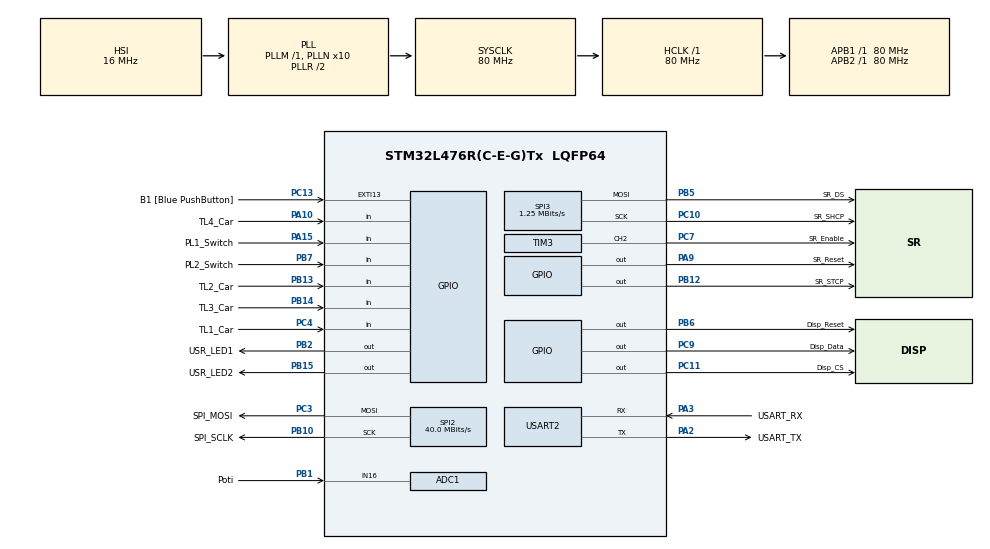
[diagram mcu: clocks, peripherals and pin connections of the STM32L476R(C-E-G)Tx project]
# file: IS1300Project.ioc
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ADC1.Channel-1\#ChannelRegularConversion=ADC_CHANNEL_16
ADC1.NbrOfConversionFlag=1
ADC1.OffsetNumber-1\#ChannelRegularConversion=ADC_OFFSET_NONE
ADC1.Rank-1\#ChannelRegularConversion=1
ADC1.SamplingTime-1\#ChannelRegularConversion=ADC_SAMPLETIME_2CYCLES_5
ADC1.master=1
FREERTOS.Tasks01=defaultTask,24,128,StartDefaultTask,Default,NULL,Dynamic,NULL,NULL;TLHandlerTask,24,128,TLHandler,Default,NULL,Dynamic,NULL,NULL;PLHandlerTask,24,128,PLHandler,Default,NULL,Dynamic,NULL,NULL;InHandlerTask,40,128,InHandler,Default,NULL,Dynamic,NULL,NULL;blinkTaskHandle,24,128,blinkTask,Default,NULL,Dynamic,NULL,NULL;OLHandlerTask,40,512,OLHandler,Default,NULL,Dynamic,NULL,NULL
FREERTOS.configTOTAL_HEAP_SIZE=6000
FREERTOS.configUSE_NEWLIB_REENTRANT=1
Mcu.Family=STM32L4
Mcu.Name=STM32L476R(C-E-G)Tx
Mcu.Package=LQFP64
NVIC.PriorityGroup=NVIC_PRIORITYGROUP_4
NVIC.TIM1_UP_TIM16_IRQn=true\:15\:0\:false\:false\:true\:false\:false\:true\:true
NVIC.TimeBase=TIM1_UP_TIM16_IRQn
NVIC.TimeBaseIP=TIM1
PA10.GPIO_Label=TL4_Car
PA10.GPIO_PuPd=GPIO_PULLUP
PA10.Signal=GPIO_Input
PA13\ (JTMS-SWDIO).GPIO_Label=TMS
PA13\ (JTMS-SWDIO).Mode=Serial_Wire
PA13\ (JTMS-SWDIO).Signal=SYS_JTMS-SWDIO
PA14\ (JTCK-SWCLK).GPIO_Label=TCK
PA14\ (JTCK-SWCLK).Mode=Serial_Wire
PA14\ (JTCK-SWCLK).Signal=SYS_JTCK-SWCLK
PA15\ (JTDI).GPIO_Label=PL1_Switch
PA15\ (JTDI).GPIO_PuPd=GPIO_PULLUP
PA15\ (JTDI).Signal=GPIO_Input
PA2.GPIO_Label=USART_TX
PA2.GPIO_Mode=GPIO_MODE_AF_PP
PA2.GPIO_PuPd=GPIO_NOPULL
PA2.GPIO_Speed=GPIO_SPEED_FREQ_VERY_HIGH
PA2.Mode=Asynchronous
PA2.Signal=USART2_TX
PA3.GPIO_Label=USART_RX
PA3.GPIO_Mode=GPIO_MODE_AF_PP
PA3.GPIO_PuPd=GPIO_NOPULL
PA3.GPIO_Speed=GPIO_SPEED_FREQ_VERY_HIGH
PA3.Mode=Asynchronous
PA3.Signal=USART2_RX
PA9.GPIO_Label=SR_Reset
PA9.Signal=GPIO_Output
PB1.GPIO_Label=Poti
PB1.Signal=ADCx_IN16
PB10.GPIO_Label=SPI_SCLK
PB10.Mode=TX_Only_Simplex_Unidirect_Master
PB10.Signal=SPI2_SCK
PB12.GPIO_Label=SR_STCP
PB12.Signal=GPIO_Output
PB13.GPIO_Label=TL2_Car
PB13.GPIO_PuPd=GPIO_PULLUP
PB13.Signal=GPIO_Input
PB14.GPIO_Label=TL3_Car
PB14.GPIO_PuPd=GPIO_PULLUP
PB14.Signal=GPIO_Input
PB15.GPIO_Label=USR_LED2
PB15.Signal=GPIO_Output
PB2.GPIO_Label=USR_LED1
PB2.Signal=GPIO_Output
PB5.GPIO_Label=SR_DS
PB5.Mode=TX_Only_Simplex_Unidirect_Master
PB5.Signal=SPI3_MOSI
PB6.GPIO_Label=Disp_Reset
PB6.Signal=GPIO_Output
PB7.GPIO_Label=PL2_Switch
PB7.GPIO_PuPd=GPIO_PULLUP
PB7.Signal=GPIO_Input
PC10.GPIO_Label=SR_SHCP
PC10.Mode=TX_Only_Simplex_Unidirect_Master
PC10.Signal=SPI3_SCK
PC11.GPIO_Label=Disp_CS
PC11.Signal=GPIO_Output
PC13.GPIO_Label=B1 [Blue PushButton]
PC13.GPIO_ModeDefaultEXTI=GPIO_MODE_IT_FALLING
PC13.GPIO_PuPd=GPIO_NOPULL
PC13.Signal=GPXTI13
PC14-OSC32_IN\ (PC14).Mode=LSE-External-Oscillator
PC14-OSC32_IN\ (PC14).Signal=RCC_OSC32_IN
PC15-OSC32_OUT\ (PC15).Mode=LSE-External-Oscillator
PC15-OSC32_OUT\ (PC15).Signal=RCC_OSC32_OUT
PC3.GPIO_Label=SPI_MOSI
PC3.Mode=TX_Only_Simplex_Unidirect_Master
PC3.Signal=SPI2_MOSI
PC4.GPIO_Label=TL1_Car
PC4.GPIO_PuPd=GPIO_PULLUP
PC4.Signal=GPIO_Input
PC7.GPIO_Label=SR_Enable
PC7.Signal=S_TIM3_CH2
PC9.GPIO_Label=Disp_Data
PC9.Signal=GPIO_Output
PH0-OSC_IN\ (PH0).Signal=RCC_OSC_IN
PH1-OSC_OUT\ (PH1).Signal=RCC_OSC_OUT
ProjectManager.HeapSize=0x200
ProjectManager.StackSize=0x400
ProjectManager.TargetToolchain=STM32CubeIDE
RCC.ADCFreq_Value=64000000
RCC.AHBFreq_Value=80000000
RCC.APB1Freq_Value=80000000
RCC.APB1TimFreq_Value=80000000
RCC.APB2Freq_Value=80000000
RCC.APB2TimFreq_Value=80000000
RCC.CortexFreq_Value=80000000
RCC.HCLKFreq_Value=80000000
RCC.HSE_VALUE=8000000
RCC.HSI_VALUE=16000000
RCC.MSI_VALUE=4000000
RCC.PLLN=10
RCC.PLLSourceVirtual=RCC_PLLSOURCE_HSI
RCC.PREFETCH_ENABLE=1
RCC.SYSCLKFreq_VALUE=80000000
RCC.SYSCLKSource=RCC_SYSCLKSOURCE_PLLCLK
RCC.USBFreq_Value=64000000
RCC.VCOOutputFreq_Value=160000000
SH.ADCx_IN16.0=ADC1_IN16,IN16-Single-Ended
SH.S_TIM3_CH2.0=TIM3_CH2,PWM Generation2 CH2
SPI2.CalculateBaudRate=40.0 MBits/s
SPI2.DataSize=SPI_DATASIZE_8BIT
SPI2.Direction=SPI_DIRECTION_2LINES
SPI2.Mode=SPI_MODE_MASTER
SPI2.VirtualType=VM_MASTER
SPI3.BaudRatePrescaler=SPI_BAUDRATEPRESCALER_64
SPI3.CalculateBaudRate=1.25 MBits/s
SPI3.DataSize=SPI_DATASIZE_8BIT
SPI3.Direction=SPI_DIRECTION_2LINES
SPI3.FirstBit=SPI_FIRSTBIT_LSB
SPI3.Mode=SPI_MODE_MASTER
SPI3.VirtualType=VM_MASTER
TIM3.Channel-PWM\ Generation2\ CH2=TIM_CHANNEL_2
TIM3.Period=4095
TIM3.Prescaler=0
TIM3.Pulse-PWM\ Generation2\ CH2=100
USART2.VirtualMode-Asynchronous=VM_ASYNC
VP_FREERTOS_VS_CMSIS_V2.Mode=CMSIS_V2
VP_SYS_VS_tim1.Mode=TIM1
VP_TIM2_VS_ClockSourceINT.Mode=Internal
VP_TIM3_VS_ClockSourceINT.Mode=Internal
board=NUCLEO-L476RG

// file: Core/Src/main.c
/* USER CODE BEGIN Header */
/**
  ******************************************************************************
  * @file           : main.c
  * @brief          : Main program body
  ******************************************************************************
  * @attention
  *
  * Copyright (c) 2025 STMicroelectronics.
  * All rights reserved.
  *
  * This software is licensed under terms that can be found in the LICENSE file
  * in the root directory of this software component.
  * If no LICENSE file comes with this software, it is provided AS-IS.
  *
  ******************************************************************************
  */
/* USER CODE END Header */
#include "main.h"
#include "cmsis_os.h"
#include "adc.h"
#include "spi.h"
#include "tim.h"
#include "usart.h"
#include "gpio.h"

/* USER CODE BEGIN Includes */
#include "ssd1306.h"
/* USER CODE END Includes */

/* USER CODE BEGIN PD */
#define RUN_TEST_PROGRAM
#undef RUN_TEST_PROGRAM
/* USER CODE END PD */

void SystemClock_Config(void);
void MX_FREERTOS_Init(void);

/* USER CODE BEGIN 0 */
#ifdef RUN_TEST_PROGRAM
extern void initialise_monitor_handles(void);
#endif

/* USER CODE END 0 */

int main(void)
{

  /* MCU Configuration--------------------------------------------------------*/

  /* Reset of all peripherals, Initializes the Flash interface and the Systick. */
  HAL_Init();

  /* Configure the system clock */
  SystemClock_Config();

  /* Initialize all configured peripherals */
  MX_GPIO_Init();
  MX_USART2_UART_Init();
  MX_SPI2_Init();
  MX_SPI3_Init();
  MX_ADC1_Init();
  MX_TIM2_Init();
  MX_TIM3_Init();
  /* USER CODE BEGIN 2 */

  //Init screen and start PWM for potentiometer control
  ssd1306_Init();
  HAL_TIM_PWM_Start(&htim3, TIM_CHANNEL_2);

#ifdef RUN_TEST_PROGRAM
  Test_program();
#else
  //Traffic();
#endif

  /* USER CODE END 2 */

  /* Init scheduler */
  osKernelInitialize();  /* Call init function for freertos objects (in cmsis_os2.c) */
  MX_FREERTOS_Init();

  /* Start scheduler */
  osKernelStart();

  /* We should never get here as control is now taken by the scheduler */

  /* Infinite loop */
  while (1)
  {

  }
}

void SystemClock_Config(void)
{
  RCC_OscInitTypeDef RCC_OscInitStruct = {0};
  RCC_ClkInitTypeDef RCC_ClkInitStruct = {0};

  /** Configure the main internal regulator output voltage
  */
  if (HAL_PWREx_ControlVoltageScaling(PWR_REGULATOR_VOLTAGE_SCALE1) != HAL_OK)
  {
    Error_Handler();
  }

  /** Initializes the RCC Oscillators according to the specified parameters
  * in the RCC_OscInitTypeDef structure.
  */
  RCC_OscInitStruct.OscillatorType = RCC_OSCILLATORTYPE_HSI;
  RCC_OscInitStruct.HSIState = RCC_HSI_ON;
  RCC_OscInitStruct.HSICalibrationValue = RCC_HSICALIBRATION_DEFAULT;
  RCC_OscInitStruct.PLL.PLLState = RCC_PLL_ON;
  RCC_OscInitStruct.PLL.PLLSource = RCC_PLLSOURCE_HSI;
  RCC_OscInitStruct.PLL.PLLM = 1;
  RCC_OscInitStruct.PLL.PLLN = 10;
  RCC_OscInitStruct.PLL.PLLP = RCC_PLLP_DIV7;
  RCC_OscInitStruct.PLL.PLLQ = RCC_PLLQ_DIV2;
  RCC_OscInitStruct.PLL.PLLR = RCC_PLLR_DIV2;
  if (HAL_RCC_OscConfig(&RCC_OscInitStruct) != HAL_OK)
  {
    Error_Handler();
  }

  /** Initializes the CPU, AHB and APB buses clocks
  */
  RCC_ClkInitStruct.ClockType = RCC_CLOCKTYPE_HCLK|RCC_CLOCKTYPE_SYSCLK
                              |RCC_CLOCKTYPE_PCLK1|RCC_CLOCKTYPE_PCLK2;
  RCC_ClkInitStruct.SYSCLKSource = RCC_SYSCLKSOURCE_PLLCLK;
  RCC_ClkInitStruct.AHBCLKDivider = RCC_SYSCLK_DIV1;
  RCC_ClkInitStruct.APB1CLKDivider = RCC_HCLK_DIV1;
  RCC_ClkInitStruct.APB2CLKDivider = RCC_HCLK_DIV1;

  if (HAL_RCC_ClockConfig(&RCC_ClkInitStruct, FLASH_LATENCY_4) != HAL_OK)
  {
    Error_Handler();
  }
}

void HAL_TIM_PeriodElapsedCallback(TIM_HandleTypeDef *htim)
{
  if (htim->Instance == TIM1)
  {
    HAL_IncTick();
  }
}

void Error_Handler(void)
{
  __disable_irq();
  while (1)
  {
  }
}

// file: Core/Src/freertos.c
/* USER CODE BEGIN Header */
/**
  ******************************************************************************
  * File Name          : freertos.c
  * Description        : Code for freertos applications
  ******************************************************************************
  * @attention
  *
  * Copyright (c) 2025 STMicroelectronics.
  * All rights reserved.
  *
  * This software is licensed under terms that can be found in the LICENSE file
  * in the root directory of this software component.
  * If no LICENSE file comes with this software, it is provided AS-IS.
  *
  ******************************************************************************
  */
/* USER CODE END Header */

#include "FreeRTOS.h"
#include "task.h"
#include "main.h"
#include "cmsis_os.h"

/* USER CODE BEGIN Includes */
#include "Traffic.h"
#include "event_groups.h"
#include "Test.h"
#include "traffic_functions.h"
#include "semphr.h"
#include "oled_functions.h"
#include "adc.h"
#include "tim.h"

/* USER CODE END Includes */

/* USER CODE BEGIN Variables */

EventGroupHandle_t eventGroup;
EventGroupHandle_t oledEventGroup;
uint32_t current_instruction;
bool doBlink1, doBlink2;
bool blinkState;
SemaphoreHandle_t lightMutex;
SemaphoreHandle_t oledMutex;
oledBarStruct oledBars[NUM_BARS];
uint16_t poti_value;

/* USER CODE END Variables */
/* Definitions for defaultTask */
osThreadId_t defaultTaskHandle;
const osThreadAttr_t defaultTask_attributes = {
  .name = "defaultTask",
  .stack_size = 128 * 4,
  .priority = (osPriority_t) osPriorityNormal,
};
/* Definitions for TLHandlerTask */
osThreadId_t TLHandlerTaskHandle;
const osThreadAttr_t TLHandlerTask_attributes = {
  .name = "TLHandlerTask",
  .stack_size = 128 * 4,
  .priority = (osPriority_t) osPriorityNormal,
};
/* Definitions for PLHandlerTask */
osThreadId_t PLHandlerTaskHandle;
const osThreadAttr_t PLHandlerTask_attributes = {
  .name = "PLHandlerTask",
  .stack_size = 128 * 4,
  .priority = (osPriority_t) osPriorityNormal,
};
/* Definitions for InHandlerTask */
osThreadId_t InHandlerTaskHandle;
const osThreadAttr_t InHandlerTask_attributes = {
  .name = "InHandlerTask",
  .stack_size = 128 * 4,
  .priority = (osPriority_t) osPriorityHigh,
};
/* Definitions for blinkTaskHandle */
osThreadId_t blinkTaskHandleHandle;
const osThreadAttr_t blinkTaskHandle_attributes = {
  .name = "blinkTaskHandle",
  .stack_size = 128 * 4,
  .priority = (osPriority_t) osPriorityNormal,
};
/* Definitions for OLHandlerTask */
osThreadId_t OLHandlerTaskHandle;
const osThreadAttr_t OLHandlerTask_attributes = {
  .name = "OLHandlerTask",
  .stack_size = 512 * 4,
  .priority = (osPriority_t) osPriorityHigh,
};

void StartDefaultTask(void *argument);
void TLHandler(void *argument);
void PLHandler(void *argument);
void InHandler(void *argument);
void blinkTask(void *argument);
void OLHandler(void *argument);

void MX_FREERTOS_Init(void); /* (MISRA C 2004 rule 8.1) */

void MX_FREERTOS_Init(void) {
  /* USER CODE BEGIN Init */
  eventGroup = xEventGroupCreate();
  oledEventGroup = xEventGroupCreate();
  doBlink1 = false;
  doBlink2 = false;
  blinkState = false;

  HAL_GPIO_WritePin(SR_Reset_GPIO_Port, SR_Reset_Pin, GPIO_PIN_SET);

  //init bars
  for(int i = 0; i < NUM_BARS; i++) {
      oledBars[i].startTick = 0;
      oledBars[i].durationTick = 0;
      oledBars[i].active = 0;
  }
  /* USER CODE END Init */

  /* USER CODE BEGIN RTOS_MUTEX */
  /* add mutexes, ... */

  lightMutex = xSemaphoreCreateMutex();
  oledMutex = xSemaphoreCreateMutex();

  /* USER CODE END RTOS_MUTEX */

  /* Create the thread(s) */
  /* creation of defaultTask */
  defaultTaskHandle = osThreadNew(StartDefaultTask, NULL, &defaultTask_attributes);

  /* creation of TLHandlerTask */
  TLHandlerTaskHandle = osThreadNew(TLHandler, NULL, &TLHandlerTask_attributes);

  /* creation of PLHandlerTask */
  PLHandlerTaskHandle = osThreadNew(PLHandler, NULL, &PLHandlerTask_attributes);

  /* creation of InHandlerTask */
  InHandlerTaskHandle = osThreadNew(InHandler, NULL, &InHandlerTask_attributes);

  /* creation of blinkTaskHandle */
  blinkTaskHandleHandle = osThreadNew(blinkTask, NULL, &blinkTaskHandle_attributes);

  /* creation of OLHandlerTask */
  OLHandlerTaskHandle = osThreadNew(OLHandler, NULL, &OLHandlerTask_attributes);

}

void StartDefaultTask(void *argument)
{
  for(;;)
  {
    osDelay(1);
  }
}

// MAIN STATE MACHINE, responsible for sending instructions to light LEDs
void TLHandler(void *argument)
{
  /* USER CODE BEGIN TLHandler */
  /* Infinite loop */
	static states State, NextState;
  for(;;)
  {
    State = NSG_EWR;
    NextState = NSG_EWR;
    uint32_t instruction, elapsedTime;
    bool toGreen = false, firstRound  = true, walkingBarStarted = false; // decide whether to go from yellow to red or yellow to green
    EventBits_t receivedBits;
    TickType_t xStartTimer, xEndTimer, timeToDelay;
    instruction = PL1_Green | PL2_Red;
    current_instruction = update_instruction(current_instruction, instruction, PL);
    while (1) {
        State = NextState;
        switch(State) {
        case NSG_EWR:
            instruction = TL_NS_Green | TL_EW_Red;
            current_instruction = update_instruction(current_instruction, instruction, TL);
            // start the countdown bar for green delay
            startBar(G1, greenDelay);
            if (!walkingBarStarted) {
              startBar(W1, walkingDelay);
            }
            stopBar(R1);
            xStartTimer = xTaskGetTickCount();
            // wait for an update to eventbits from either a switch or a pedestrian button. If there is no event, wait for green delay
            receivedBits = xEventGroupWaitBits(eventGroup, Event_PL2 | Event_TL1_Switch | Event_TL3_Switch | Event_TL2_Switch | Event_TL4_Switch | Event_PL2_Pressed_Yellow, pdTRUE, pdFALSE, greenDelay);
            xEndTimer = xTaskGetTickCount();
            elapsedTime = xEndTimer - xStartTimer;

            // check if the pedestrian button is pressed in this state or previously pressed in yellow state
            if(receivedBits & (Event_PL2 | Event_PL2_Pressed_Yellow)) {
              timeToDelay = greenDelay - elapsedTime < pedestrianDelay ? (greenDelay - elapsedTime) : pedestrianDelay - yellowDelay;
              // update the time to delay according to elapsed time compared to walking delay
              if (elapsedTime < walkingDelay && firstRound) timeToDelay = walkingDelay - elapsedTime;
              vTaskDelay(timeToDelay);

              // check if cars in non-conflicting direction and NO cars in conflicting direction
            } else if((receivedBits & (Event_TL2_Switch | Event_TL4_Switch)) && !(receivedBits & (Event_TL1_Switch | Event_TL3_Switch))) {
              NextState = NSG_EWR;

              if (!walkingBarStarted) walkingBarStarted = true;
              if (!(Event_NS_Safe_Walk & xEventGroupGetBits(eventGroup))) firstRound = false;
              break;
              // check if cars in conflicting direction are present
            } else if(receivedBits & (Event_TL1_Switch | Event_TL3_Switch)) {
              // if there are NOT any cars in non-conflicting direction and it is NOT the first round, can switch to red delay
              if(!(receivedBits & (Event_TL2_Switch | Event_TL4_Switch))) {
                if(!firstRound) {
                  toGreen = false;
                  NextState = NSY_EWR;
                  startBar(R2, redDelayMax);
                  xStartTimer = xTaskGetTickCount();
                  receivedBits = xEventGroupWaitBits(eventGroup, Event_PL2, pdFALSE, pdFALSE, redDelayMax);
                  // if the pedestrian button is pressed, start blue blinking
                  if (receivedBits & Event_PL2) {
                    xEndTimer = xTaskGetTickCount();
                    elapsedTime = xEndTimer - xStartTimer;
                    vTaskDelay(redDelayMax - elapsedTime);
                  }
                  break;
                }
              }
              startBar(R2, redDelayMax);
              stopBar(G1);
              timeToDelay = greenDelay - elapsedTime < redDelayMax ? (greenDelay - elapsedTime) : redDelayMax;
              // update the delay time to correct timing
              if (elapsedTime < walkingDelay && firstRound) timeToDelay = walkingDelay - elapsedTime;
              vTaskDelay(timeToDelay);
            }
            firstRound = false; // necessary to ensure a pedestrian always get walking delay while also handling arrival of cars at red light
            NextState = NSY_EWR;
            toGreen = false;
            break;

        case NSY_EWR:
            instruction = TL_NS_Yellow | TL_EW_Red;
            current_instruction = update_instruction(current_instruction, instruction, TL);
            // check if state machine direction is clockwise or counterclockwise
            if (toGreen) {
              stopBar(G2);
              xStartTimer = xTaskGetTickCount();
              receivedBits = xEventGroupWaitBits(eventGroup, Event_PL2, pdTRUE, pdFALSE, yellowDelay);
              xEndTimer = xTaskGetTickCount();
              elapsedTime = xEndTimer - xStartTimer;
              // check if the pedestrian button has been pressed
              if(receivedBits & Event_PL2) {
                xEventGroupSetBits(eventGroup, Event_PL2_Pressed_Yellow); // indicate ped button pressed during yellow
                vTaskDelay(yellowDelay - elapsedTime);
              }
              NextState = NSG_EWR;
            } else { // no eventbit change from button presses
              vTaskDelay(yellowDelay);
              NextState = NSR_EWY;
              xEventGroupSetBits(eventGroup, Event_EW_Safe_Walk);
              doBlink2 = false;
              current_instruction = update_instruction(current_instruction, 0, PLB);
            }
            toGreen = true;
            firstRound = true;
            walkingBarStarted = false;
            break;

        case NSR_EWY:
            instruction = TL_NS_Red | TL_EW_Yellow;
            current_instruction = update_instruction(current_instruction, instruction, TL);
            // check if state machine direction is clockwise or counterclockwise
            if (toGreen) {
              stopBar(G1);
              xStartTimer = xTaskGetTickCount();
              // check if ped light was pressed while waiting in yellow
              receivedBits = xEventGroupWaitBits(eventGroup, Event_PL1, pdTRUE, pdFALSE, yellowDelay);
              xEndTimer = xTaskGetTickCount();
              elapsedTime = xEndTimer - xStartTimer;
              if(receivedBits & Event_PL1) {
                xEventGroupSetBits(eventGroup, Event_PL1_Pressed_Yellow);
                vTaskDelay(yellowDelay - elapsedTime);
              }
              NextState = NSR_EWG;
            } else { // no button was pressed during yellow and NS not destined for green, proceed normally
              vTaskDelay(yellowDelay);
              NextState = NSY_EWR;
              xEventGroupSetBits(eventGroup, Event_NS_Safe_Walk); // tell the pedestrian light that the N/S traffic is green
              doBlink1 = false;
              current_instruction = update_instruction(current_instruction, 0, PLB);
            }
            toGreen = true;
            firstRound = true;
            walkingBarStarted = false;
            break;

        case NSR_EWG:
            instruction = TL_NS_Red | TL_EW_Green;
            current_instruction = update_instruction(current_instruction, instruction, TL);
            startBar(G2, greenDelay);
            // need to check if walkingDelay/bar has started as walking delay has higher priority over red delay max
            if (!walkingBarStarted) {
              startBar(W2, walkingDelay);
            }
            stopBar(R2);
            xStartTimer = xTaskGetTickCount();
            receivedBits = xEventGroupWaitBits(eventGroup, Event_PL1 | Event_TL1_Switch | Event_TL3_Switch | Event_TL2_Switch | Event_TL4_Switch | Event_PL1_Pressed_Yellow, pdTRUE, pdFALSE, greenDelay);
            xEndTimer = xTaskGetTickCount();
            elapsedTime = xEndTimer - xStartTimer;
            // check if pedestrian button was pressed while conflicting light green, or if it was pressed while conflicting light was yellow
            if(receivedBits & (Event_PL1 | Event_PL1_Pressed_Yellow)) {
              timeToDelay = greenDelay - elapsedTime < pedestrianDelay ? (greenDelay - elapsedTime) : pedestrianDelay - yellowDelay;
              if (elapsedTime < walkingDelay && firstRound) timeToDelay = walkingDelay - elapsedTime;
              vTaskDelay(timeToDelay);
              // check if there are cars in non-conflicting direction AND no cars at the red light
            } else if((receivedBits & (Event_TL1_Switch | Event_TL3_Switch)) && !(receivedBits & (Event_TL2_Switch | Event_TL4_Switch))) {
              NextState = NSR_EWG;
              if (!walkingBarStarted) walkingBarStarted = true;
              if (!(Event_EW_Safe_Walk & xEventGroupGetBits(eventGroup))) firstRound = false;
              break;
            // cars present in conflicting direction
            } else if((receivedBits & (Event_TL2_Switch | Event_TL4_Switch))) {
              // check for cars in non-conflicting direction
              if(!(receivedBits & (Event_TL1_Switch | Event_TL3_Switch))) {
                if(!firstRound) {
                  toGreen = false;
                  NextState = NSR_EWY;
                  startBar(R1, redDelayMax);
                  xStartTimer = xTaskGetTickCount();
                  // wait redDelayMax unless a pedestrian button is pressed
                  receivedBits = xEventGroupWaitBits(eventGroup, Event_PL1, pdFALSE, pdFALSE, redDelayMax);
                  if (receivedBits & Event_PL1) {
                    xEndTimer = xTaskGetTickCount();
                    elapsedTime = xEndTimer - xStartTimer;
                    vTaskDelay(redDelayMax - elapsedTime);
                  }
                  break;
                }
              }
              startBar(R1, redDelayMax);
              stopBar(G2);
              timeToDelay = greenDelay - elapsedTime < redDelayMax ? (greenDelay - elapsedTime) : redDelayMax;
              if (elapsedTime < walkingDelay && firstRound) timeToDelay = walkingDelay - elapsedTime;
              vTaskDelay(timeToDelay);
            }
            toGreen = false;
            firstRound = false;
            NextState = NSR_EWY;
            break;
        }
      }
      vTaskDelay(10);
  }
  /* USER CODE END TLHandler */
}

void PLHandler(void *argument)
{
  /* USER CODE BEGIN PLHandler */

  /* Infinite loop */
  EventBits_t receivedBits;
  uint32_t instruction;
  for(;;)
  {
    // ensure that the button pressed state is saved for at least walkingDelay time
	  receivedBits = xEventGroupWaitBits(eventGroup, Event_NS_Safe_Walk  | Event_EW_Safe_Walk, pdFALSE, pdFALSE, portMAX_DELAY);
      if(receivedBits & Event_NS_Safe_Walk) {
        instruction = PL1_Green | PL2_Red;
        current_instruction = update_instruction(current_instruction, instruction, PL);
        stopBar(P1);
        vTaskDelay(walkingDelay);
        xEventGroupClearBits(eventGroup, Event_NS_Safe_Walk);
      }
      if(receivedBits & Event_EW_Safe_Walk) {
        instruction = PL1_Red | PL2_Green;
        current_instruction = update_instruction(current_instruction, instruction, PL);
        stopBar(P2);
        vTaskDelay(walkingDelay);
        xEventGroupClearBits(eventGroup, Event_EW_Safe_Walk);
      }

  }
  /* USER CODE END PLHandler */
}

// used to detect changes in the inputs of buttons and switches, clear bits if not activate
void InHandler(void *argument)
{
  /* USER CODE BEGIN InHandler */
  /* Infinite loop */
  for(;;)
  {
    // detect if pedestrian button 2 is pressed
    if (HAL_GPIO_ReadPin(PL2_Switch_GPIO_Port, PL2_Switch_Pin) == GPIO_PIN_RESET) {
      xEventGroupSetBits(eventGroup, Event_PL2);
      if(current_instruction & PL2_Red) {
        if(!doBlink2) startBar(P2, pedestrianDelay);
        doBlink2 = true;
      }
	  } else {
      xEventGroupClearBits(eventGroup, Event_PL2);
    }
    // detect if ped button 1 is pressed
    if(HAL_GPIO_ReadPin(PL1_Switch_GPIO_Port, PL1_Switch_Pin) == GPIO_PIN_RESET) {
      xEventGroupSetBits(eventGroup, Event_PL1);
      if(current_instruction & PL1_Red) {
        if (!doBlink1) startBar(P1, pedestrianDelay);
        doBlink1 = true;
      }
    } else {
      xEventGroupClearBits(eventGroup, Event_PL1);
    }
    // detect if car at TL1
    if(HAL_GPIO_ReadPin(TL1_Car_GPIO_Port,TL1_Car_Pin) == GPIO_PIN_RESET) {
      xEventGroupSetBits(eventGroup, Event_TL1_Switch);
    } else {
      xEventGroupClearBits(eventGroup, Event_TL1_Switch);
    }
    // detect if car at TL2
    if(HAL_GPIO_ReadPin(TL2_Car_GPIO_Port,TL2_Car_Pin) == GPIO_PIN_RESET) {
      xEventGroupSetBits(eventGroup, Event_TL2_Switch);
    } else {
      xEventGroupClearBits(eventGroup, Event_TL2_Switch);
    }
    // detect if car at TL3
    if(HAL_GPIO_ReadPin(TL3_Car_GPIO_Port,TL3_Car_Pin) == GPIO_PIN_RESET) {
      xEventGroupSetBits(eventGroup, Event_TL3_Switch);
    } else {
      xEventGroupClearBits(eventGroup, Event_TL3_Switch);
    }
    // detect if car at TL4
    if(HAL_GPIO_ReadPin(TL4_Car_GPIO_Port,TL4_Car_Pin)  == GPIO_PIN_RESET) {
      xEventGroupSetBits(eventGroup, Event_TL4_Switch);
    } else {
      xEventGroupClearBits(eventGroup, Event_TL4_Switch);
    }
    HAL_ADC_Start(&hadc1);
    HAL_ADC_PollForConversion(&hadc1, HAL_MAX_DELAY);
    poti_value = HAL_ADC_GetValue(&hadc1);
    __HAL_TIM_SET_COMPARE(&htim3, TIM_CHANNEL_2, poti_value);
    vTaskDelay(10);
  }
  /* USER CODE END InHandler */
}

// controls the blinking of the blue pedestrian lights
void blinkTask(void *argument)
{
  /* USER CODE BEGIN blinkTask */
  /* Infinite loop */
  for(;;)
  {
    // check the flags that get set when a ped button is pressed
    if (doBlink1 || doBlink2) {
      uint32_t instruction = 0x0;
      // blink it, baby
      if (doBlink1) instruction |= blinkState ? PL1_Blue : 0;
      if (doBlink2) instruction |= blinkState ? PL2_Blue : 0;
      current_instruction = update_instruction(current_instruction, instruction, PLB);
    }
    blinkState = !blinkState; // toggle so the blink toggles
    vTaskDelay(toggleFreq);
  }
  /* USER CODE END blinkTask */
}

void OLHandler(void *argument)
{
  /* USER CODE BEGIN OLHandler */
  /* Infinite loop */
  uint8_t screenArray[NUM_BARS];
  drawTitles();
  drawBarOutlines();

  for(;;)
  {
    TickType_t current = xTaskGetTickCount();
    // ensure mutual exlcusion
    xSemaphoreTake(oledMutex, portMAX_DELAY);
    for(int i = 0; i < NUM_BARS; i++) {
      // account for empty bars
      if(oledBars[i].active == 0) {
        screenArray[i] = BAR_Y1; // bar empty
        continue;
      }

      TickType_t start  = oledBars[i].startTick;
      TickType_t total  = oledBars[i].durationTick;
      TickType_t elapsed = current - start;

      // handle expired bars
      if(elapsed >= total) {
        oledBars[i].active = 0;
        screenArray[i] = BAR_Y1;
        continue;
      }
      // compute the remaining bar height
      float barRatio = 1.0f - ((float)elapsed / (float)total);
      if(barRatio < 0.0f) barRatio = 0.0f;
      if(barRatio > 1.0f) barRatio = 1.0f;

      uint8_t top = BAR_Y1 - (uint8_t)((barRatio * MAX_BAR_HEIGHT));

      // ensure the bar is in a valid range
      if(top < BAR_Y2) top = BAR_Y2;
      if(top > BAR_Y1) top = BAR_Y1;

      screenArray[i] = top;
    }
    xSemaphoreGive(oledMutex);
    drawBars(screenArray);
    osDelay(20);
  }
  /* USER CODE END OLHandler */
}
